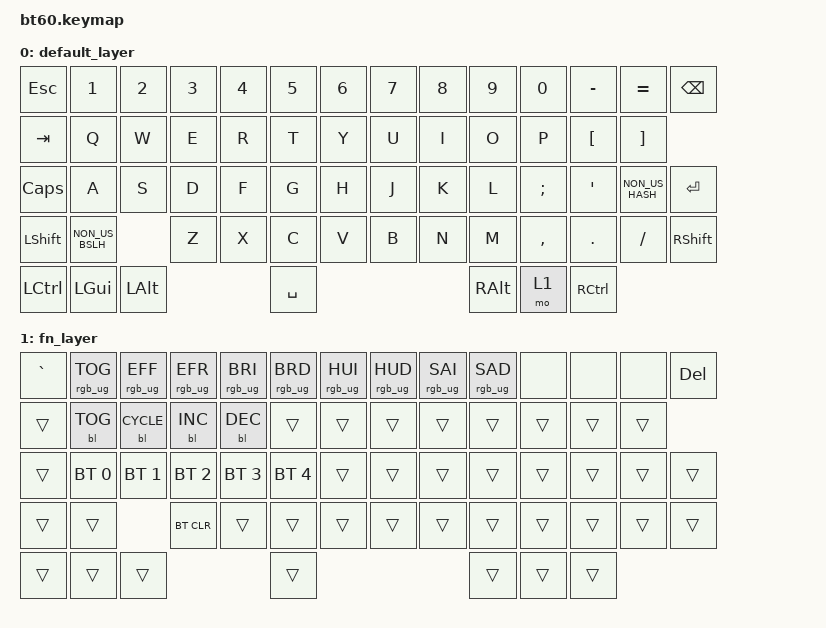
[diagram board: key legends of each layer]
#include <behaviors.dtsi>
#include <dt-bindings/zmk/keys.h>
#include <dt-bindings/zmk/rgb.h>
#include <dt-bindings/zmk/backlight.h>
#include <dt-bindings/zmk/bt.h>

/ {
    keymap {
        compatible = "zmk,keymap";

        // Ebene 0: Standard ISO-DE Layout
        default_layer {
            bindings = <
                &kp ESC    &kp N1    &kp N2    &kp N3    &kp N4    &kp N5    &kp N6    &kp N7    &kp N8    &kp N9    &kp N0    &kp MINUS &kp EQUAL &kp BSPC
                &kp TAB    &kp Q     &kp W     &kp E     &kp R     &kp T     &kp Y     &kp U     &kp I     &kp O     &kp P     &kp LBKT  &kp RBKT  
                &kp CLCK   &kp A     &kp S     &kp D     &kp F     &kp G     &kp H     &kp J     &kp K     &kp L     &kp SEMI  &kp SQT   &kp NON_US_HASH &kp RET
                &kp LSHFT  &kp NON_US_BSLH &kp Z &kp X   &kp C     &kp V     &kp B     &kp N     &kp M     &kp COMMA &kp DOT   &kp FSLH  &kp RSHFT
                &kp LCTRL  &kp LGUI  &kp LALT                      &kp SPACE                               &kp RALT  &mo 1     &kp RCTRL
            >;
        };

        // Ebene 1: RGB, Backlight & Bluetooth (Halte die Fn-Taste gedrückt)
        fn_layer {
            bindings = <
                &kp GRAVE  &rgb_ug RGB_TOG &rgb_ug RGB_EFF &rgb_ug RGB_EFR &rgb_ug RGB_BRI &rgb_ug RGB_BRD &rgb_ug RGB_HUI &rgb_ug RGB_HUD &rgb_ug RGB_SAI &rgb_ug RGB_SAD &none &none &none &kp DEL
                &trans     &bl BL_TOG      &bl BL_CYCLE    &bl BL_INC      &bl BL_DEC      &trans          &trans          &trans          &trans          &trans          &trans &trans &trans
                &trans     &bt BT_SEL 0    &bt BT_SEL 1    &bt BT_SEL 2    &bt BT_SEL 3    &bt BT_SEL 4    &trans          &trans          &trans          &trans          &trans &trans &trans &trans
                &trans     &trans          &bt BT_CLR      &trans          &trans          &trans          &trans          &trans          &trans          &trans          &trans &trans &trans
                &trans     &trans          &trans                          &trans                                                          &trans          &trans          &trans
            >;
        };
    };
};
